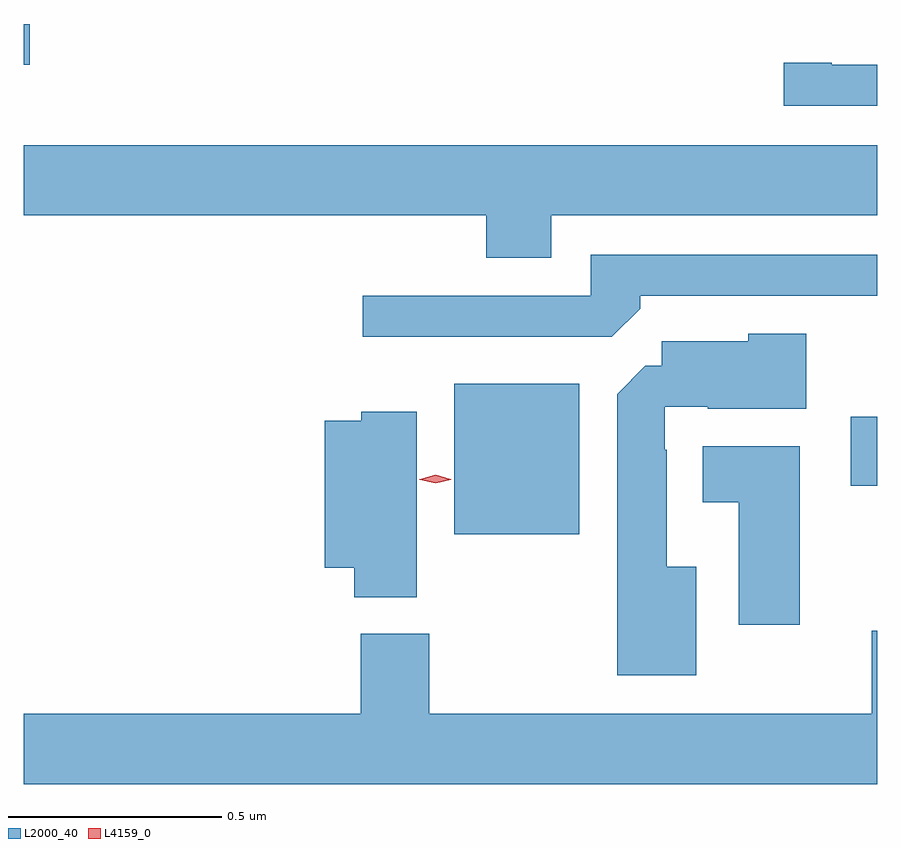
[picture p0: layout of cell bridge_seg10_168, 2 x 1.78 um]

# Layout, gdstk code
import gdstk
lib = gdstk.Library(unit=1e-6, precision=1e-09)
def R(c, l, rs):  # rectangles x0, y0, x1, y1
    for r in rs: c.add(gdstk.rectangle(r[:2], r[2:], *l))
def P(c, l, *ps):  # polygons
    for p in ps: c.add(gdstk.Polygon(p, *l))
L2000_40 = (2000, 40)
L4159_0 = (4159, 0)

bridge_seg10_168 = lib.new_cell('bridge_seg10_168')
R(bridge_seg10_168, L2000_40, [(235.07,1279.589,235.363,1279.942), (235.998,1279.702,236.061,1279.864), (234.061,1280.688,234.076,1280.784)])
P(bridge_seg10_168, L2000_40, [(236.061,1280.688),(235.954,1280.688),(235.954,1280.693),(235.842,1280.693),(235.842,1280.592),(236.061,1280.592)],
  [(235.297,1280.336),(236.061,1280.336),(236.061,1280.5),(234.061,1280.5),(234.061,1280.336),(235.145,1280.336),(235.145,1280.237),(235.297,1280.237)],
  [(235.505,1280.117),(235.505,1280.148),(236.061,1280.148),(236.061,1280.244),(235.389,1280.244),(235.389,1280.148),(234.855,1280.148),(234.855,1280.052),(235.439,1280.052)],
  [(235.636,1279.513),(235.567,1279.513),(235.567,1279.787),(235.563,1279.787),(235.563,1279.887),(235.663,1279.887),(235.663,1279.883),(235.894,1279.883),(235.894,1280.059),(235.758,1280.059),(235.758,1280.041),(235.556,1280.041),(235.556,1279.984),(235.517,1279.984),(235.451,1279.917),(235.451,1279.259),(235.636,1279.259)],
  [(234.982,1279.876),(234.852,1279.876),(234.852,1279.855),(234.767,1279.855),(234.767,1279.511),(234.836,1279.511),(234.836,1279.441),(234.982,1279.441)],
  [(235.879,1279.795),(235.652,1279.795),(235.652,1279.664),(235.736,1279.664),(235.736,1279.377),(235.879,1279.377)],
  [(236.061,1279.363),(236.048,1279.363),(236.048,1279.168),(235.011,1279.168),(235.011,1279.356),(234.851,1279.356),(234.851,1279.168),(234.061,1279.168),(234.061,1279.004),(236.061,1279.004)])
P(bridge_seg10_168, L4159_0, [(235.026,1279.708),(234.989,1279.717),(234.988,1279.718),(234.989,1279.718),(235.026,1279.728),(235.062,1279.718),(235.063,1279.718),(235.062,1279.717)])

lib.write_gds('bridge_seg10_168.gds')
